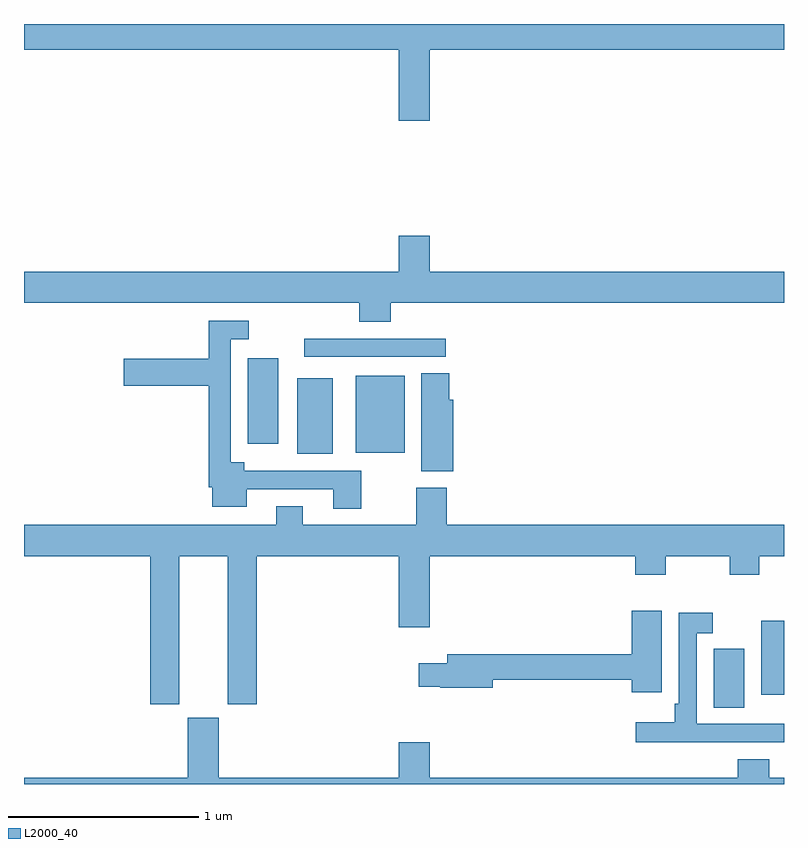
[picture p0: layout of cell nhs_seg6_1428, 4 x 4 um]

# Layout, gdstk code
import gdstk
lib = gdstk.Library(unit=1e-6, precision=1e-09)
def R(c, l, rs):  # rectangles x0, y0, x1, y1
    for r in rs: c.add(gdstk.rectangle(r[:2], r[2:], *l))
def P(c, l, *ps):  # polygons
    for p in ps: c.add(gdstk.Polygon(p, *l))
L2000_40 = (2000, 40)

nhs_seg6_1428 = lib.new_cell('nhs_seg6_1428')
R(nhs_seg6_1428, L2000_40, [(202.631,915.901,202.792,916.212), (202.88,915.971,203,916.36), (200.438,917.237,200.626,917.635), (200.747,917.243,201.004,917.65), (200.177,917.292,200.338,917.74), (200.475,917.748,201.22,917.844)])
P(nhs_seg6_1428, L2000_40, [(201.136,919.364),(203,919.364),(203,919.5),(199,919.5),(199,919.364),(200.972,919.364),(200.972,918.99),(201.136,918.99)],
  [(200.93,918.032),(203,918.032),(203,918.196),(201.136,918.196),(201.136,918.385),(200.972,918.385),(200.972,918.196),(199,918.196),(199,918.032),(200.765,918.032),(200.765,917.933),(200.93,917.933)],
  [(200.775,917.148),(200.158,917.148),(200.158,917.194),(200.088,917.194),(200.088,917.841),(200.182,917.841),(200.182,917.937),(199.972,917.937),(199.972,917.739),(199.524,917.739),(199.524,917.597),(199.972,917.597),(199.972,917.062),(199.991,917.062),(199.991,916.958),(200.173,916.958),(200.173,917.052),(200.627,917.052),(200.627,916.95),(200.775,916.95)],
  [(201.26,917.523),(201.239,917.523),(201.239,917.663),(201.092,917.663),(201.092,917.147),(201.26,917.147)],
  [(199.816,916.7),(200.072,916.7),(200.072,915.921),(200.225,915.921),(200.225,916.7),(200.972,916.7),(200.972,916.326),(201.136,916.326),(201.136,916.7),(202.217,916.7),(202.217,916.601),(202.377,916.601),(202.377,916.7),(202.714,916.7),(202.714,916.601),(202.869,916.601),(202.869,916.7),(203,916.7),(203,916.864),(201.224,916.864),(201.224,917.059),(201.064,917.059),(201.064,916.864),(200.467,916.864),(200.467,916.963),(200.327,916.963),(200.327,916.864),(199,916.864),(199,916.7),(199.664,916.7),(199.664,915.921),(199.816,915.921)],
  [(202.357,916.411),(202.199,916.411),(202.199,916.184),(201.227,916.184),(201.227,916.135),(201.078,916.135),(201.078,916.013),(201.19,916.013),(201.19,916.006),(201.466,916.006),(201.466,916.048),(202.199,916.048),(202.199,915.984),(202.357,915.984)],
  [(202.639,915.72),(203,915.72),(203,915.817),(202.888,915.817),(202.888,915.816),(202.542,915.816),(202.542,916.293),(202.624,916.293),(202.624,916.402),(202.446,916.402),(202.446,915.922),(202.426,915.922),(202.426,915.826),(202.221,915.826),(202.221,915.719),(202.639,915.719)],
  [(203,915.532),(202.922,915.532),(202.922,915.631),(202.757,915.631),(202.757,915.532),(201.136,915.532),(201.136,915.721),(200.972,915.721),(200.972,915.532),(200.026,915.532),(200.026,915.849),(199.862,915.849),(199.862,915.532),(199,915.532),(199,915.5),(203,915.5)])

lib.write_gds('nhs_seg6_1428.gds')
